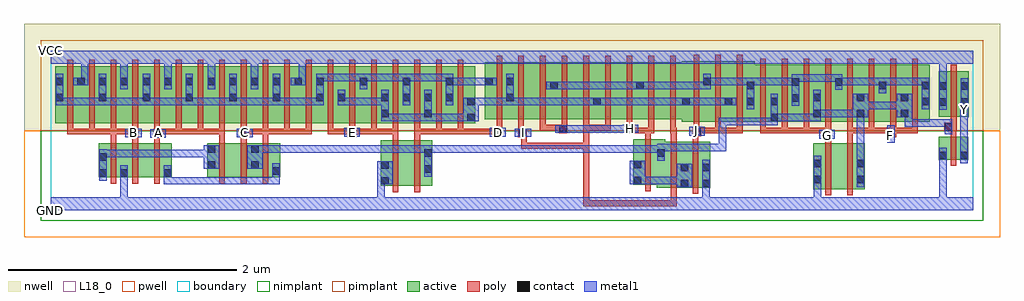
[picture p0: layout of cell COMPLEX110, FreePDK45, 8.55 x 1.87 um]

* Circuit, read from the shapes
.subckt COMPLEX110 A B C D E F G GND H I J VCC Y
M1 GND B n1 VSUBS nfet w=0.3u l=0.05u
M2 n2 B GND VSUBS nfet w=0.3u l=0.05u
M3 n3 A n2 VSUBS nfet w=0.3u l=0.05u
M4 n4 A n1 VSUBS nfet w=0.3u l=0.05u
M5 n5 C n4 VSUBS nfet w=0.3u l=0.05u
M6 n3 C n5 VSUBS nfet w=0.3u l=0.05u
M7 n6 E GND VSUBS nfet w=0.4u l=0.05u
M8 n5 D n6 VSUBS nfet w=0.4u l=0.05u
M9 n5 H n7 VSUBS nfet w=0.4u l=0.05u
M10 n7 I n5 VSUBS nfet w=0.4u l=0.05u
M11 GND J n7 VSUBS nfet w=0.4u l=0.05u
M12 n8 G GND VSUBS nfet w=0.4u l=0.05u
M13 n5 F n8 VSUBS nfet w=0.4u l=0.05u
M14 Y n5 GND VSUBS nfet w=0.2u l=0.05u
M15 VCC B n9 n10 pfet w=0.5u l=0.05u m=4
M16 VCC A n9 n10 pfet w=0.5u l=0.05u m=4
M17 VCC C n9 n10 pfet w=0.5u l=0.05u m=4
M18 n11 E n9 n10 pfet w=0.5u l=0.05u m=4
M19 n11 D n9 n10 pfet w=0.5u l=0.05u m=4
M20 n12 I n11 n10 pfet w=0.5u l=0.05u
M21 n13 H n12 n10 pfet w=0.5u l=0.05u
M22 n14 H n13 n10 pfet w=0.5u l=0.05u
M23 n11 I n14 n10 pfet w=0.5u l=0.05u
M24 n15 I n11 n10 pfet w=0.5u l=0.05u
M25 n13 H n15 n10 pfet w=0.5u l=0.05u
M26 n16 H n13 n10 pfet w=0.5u l=0.05u
M27 n11 I n16 n10 pfet w=0.5u l=0.05u
M28 n13 J n11 n10 pfet w=0.532u l=0.05u m=3
M29 n5 G n13 n10 pfet w=0.5u l=0.05u m=4
M30 n5 F n13 n10 pfet w=0.5u l=0.05u m=4
M31 Y n5 VCC n10 pfet w=0.4u l=0.05u
.ends

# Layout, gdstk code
import gdstk
lib = gdstk.Library(unit=1e-6, precision=1e-09)
def R(c, l, rs):  # rectangles x0, y0, x1, y1
    for r in rs: c.add(gdstk.rectangle(r[:2], r[2:], *l))
def A(c, l, x, y, w, h, nx, ny, dx, dy):  # array of equal rectangles
    R(c, l, [(x+i*dx, y+j*dy, x+i*dx+w, y+j*dy+h) for i in range(nx) for j in range(ny)])
active = (1, 0)
pwell = (2, 0)
nwell = (3, 0)
nimplant = (4, 0)
pimplant = (5, 0)
poly = (9, 0)
contact = (10, 0)
metal1 = (11, 0)
L18_0 = (18, 0)
boundary = (235, 0)

complex110 = lib.new_cell('COMPLEX110')
A(complex110, active, 0.605, 0.765, 0.27, 0.5, 3, 1, 0.57, 0)
A(complex110, active, 0.8, 0.765, 0.265, 0.5, 3, 1, 0.57, 0)
A(complex110, active, 2.13, 0.765, 0.265, 0.5, 5, 1, 0.19, 0)
A(complex110, active, 6.485, 0.775, 0.265, 0.5, 3, 1, 0.19, 0)
A(complex110, active, 1.56, 0.807, 0.075, 0.393, 5, 1, 0.38, 0)
R(complex110, active, [(6.68,0.187,6.905,0.587), (6.905,0.187,7.13,0.587), (5.307,0.2,5.587,0.6), (5.512,0.2,5.777,0.6), (5.512,0.2,5.587,0.492), (5.702,0.2,5.777,0.6), (7.055,0.2,7.13,0.587), (2.89,0.215,3.115,0.615), (2.89,0.215,2.965,0.615), (3.115,0.215,3.34,0.615), (5.102,0.225,5.177,0.625), (5.102,0.225,5.382,0.625), (6.68,0.232,6.755,0.587), (3.265,0.245,3.34,0.615), (5.307,0.245,5.382,0.6), (0.42,0.29,0.68,0.59), (0.42,0.29,0.495,0.59), (0.605,0.29,0.835,0.59), (0.605,0.29,0.68,0.442), (0.835,0.29,1.06,0.59), (0.985,0.29,1.06,0.59), (1.37,0.29,1.595,0.59), (1.595,0.29,1.825,0.59), (1.75,0.29,2.01,0.59), (1.935,0.307,2.01,0.59), (1.75,0.33,1.825,0.575), (1.37,0.345,1.445,0.59), (7.777,0.445,7.852,0.645), (7.777,0.445,8.037,0.645), (7.962,0.445,8.037,0.645), (0.04,0.765,0.3,1.265), (0.04,0.765,0.115,1.2), (0.225,0.765,0.49,1.265), (0.415,0.765,0.68,1.265), (0.99,0.765,1.25,1.265), (1.56,0.765,1.82,1.265), (3.08,0.765,3.34,1.265), (3.265,0.765,3.53,1.265), (3.455,0.765,3.72,1.265), (3.645,0.765,3.72,1.07), (5.525,0.775,5.785,1.307), (5.71,0.775,5.785,1.2), (5.71,0.775,5.975,1.307), (5.9,0.775,5.975,1.07), (5.9,0.775,6.165,1.307), (6.09,0.775,6.165,1.2), (6.09,0.775,6.375,1.275), (6.3,0.775,6.56,1.275), (6.3,0.775,6.375,1.07), (6.675,0.775,6.75,1.07), (7.055,0.775,7.13,1.07), (7.055,0.775,7.325,1.275), (7.25,0.775,7.325,1.2), (7.25,0.775,7.515,1.275), (7.44,0.775,7.7,1.275), (7.44,0.775,7.515,1.07), (7.625,0.775,7.7,1.2), (3.8,0.8,3.875,1.2), (3.8,0.8,4.06,1.3), (3.985,0.8,4.215,1.3), (4.215,0.8,4.445,1.3), (4.37,0.8,4.595,1.3), (4.595,0.8,4.822,1.3), (4.747,0.8,4.975,1.3), (4.975,0.8,5.2,1.3), (5.125,0.8,5.355,1.3), (5.355,0.8,5.6,1.3), (6.865,0.802,6.94,1.2), (0.225,0.807,0.3,1.255), (0.415,0.807,0.49,1.2), (0.605,0.807,0.68,1.255), (0.8,0.807,0.875,1.2), (0.99,0.807,1.065,1.255), (1.175,0.807,1.25,1.2), (1.37,0.807,1.445,1.255), (1.745,0.807,1.82,1.255), (2.13,0.807,2.205,1.255), (2.51,0.807,2.585,1.07), (2.89,0.807,2.965,1.07), (3.265,0.807,3.34,1.07), (3.455,0.807,3.53,1.2), (3.985,0.807,4.06,1.2), (4.37,0.807,4.445,1.2), (4.747,0.807,4.822,1.07), (5.125,0.807,5.2,1.2), (5.525,0.807,5.6,1.07), (6.485,0.807,6.56,1.2), (7.78,0.82,7.855,1.22), (7.78,0.82,8.04,1.22), (7.965,0.82,8.04,1.165)])
R(complex110, pwell, [(-0.235,-0.235,8.315,0.7)])
R(complex110, nwell, [(-0.235,0.7,8.315,1.635)])
R(complex110, nimplant, [(-0.09,-0.09,8.17,0.7)])
R(complex110, pimplant, [(-0.09,0.7,8.17,1.49)])
A(complex110, poly, 0.525, 0.235, 0.05, 0.41, 3, 1, 0.19, 0)
A(complex110, poly, 1.475, 0.235, 0.05, 0.41, 3, 1, 0.19, 0)
A(complex110, poly, 0.145, 0.665, 0.05, 0.095, 19, 1, 0.19, 0)
A(complex110, poly, 2.995, 0.665, 0.05, 0.05, 3, 1, 0.19, 0)
A(complex110, poly, 5.63, 0.675, 0.05, 0.095, 3, 1, 0.19, 0)
A(complex110, poly, 6.215, 0.675, 0.05, 0.095, 8, 1, 0.19, 0)
A(complex110, poly, 4.285, 0.7, 0.05, 0.095, 5, 1, 0.19, 0)
A(complex110, poly, 0.145, 0.71, 0.05, 0.61, 19, 1, 0.19, 0)
A(complex110, poly, 5.63, 0.72, 0.05, 0.642, 3, 1, 0.19, 0)
A(complex110, poly, 6.215, 0.72, 0.05, 0.61, 8, 1, 0.19, 0)
A(complex110, poly, 3.905, 0.745, 0.05, 0.61, 9, 1, 0.19, 0)
R(complex110, poly, [(4.665,0.037,4.715,0.087), (4.665,0.037,4.715,0.087), (4.665,0.037,4.715,0.087), (4.665,0.037,4.715,0.087), (4.665,0.037,4.715,0.087), (4.665,0.037,4.96,0.087), (4.665,0.037,4.715,0.592), (4.91,0.037,4.96,0.087), (4.91,0.037,4.96,0.087), (4.91,0.037,4.96,0.087), (4.91,0.037,5.125,0.087), (5.075,0.037,5.125,0.087), (5.075,0.037,5.125,0.087), (5.075,0.037,5.125,0.087), (5.075,0.037,5.342,0.087), (5.292,0.037,5.342,0.087), (5.292,0.037,5.342,0.087), (5.292,0.037,5.342,0.087), (5.292,0.037,5.482,0.087), (5.432,0.037,5.482,0.087), (5.432,0.037,5.482,0.087), (5.432,0.037,5.482,0.087), (5.432,0.037,5.482,0.195), (6.785,0.132,6.835,0.642), (6.975,0.132,7.025,0.642), (5.432,0.145,5.482,0.655), (5.622,0.145,5.672,0.655), (2.995,0.16,3.045,0.67), (3.185,0.16,3.235,0.67), (5.207,0.17,5.257,0.68), (7.882,0.39,7.932,0.7), (4.12,0.542,4.17,0.592), (4.12,0.542,4.17,0.592), (4.12,0.542,4.17,0.592), (4.12,0.542,4.17,0.592), (4.12,0.542,4.17,0.592), (4.12,0.542,4.367,0.592), (4.12,0.542,4.17,0.69), (4.317,0.542,4.367,0.592), (4.317,0.542,4.582,0.592), (4.532,0.542,4.582,0.592), (4.532,0.542,4.582,0.592), (4.532,0.542,4.582,0.592), (4.532,0.542,4.715,0.592), (4.665,0.542,4.715,0.592), (4.665,0.542,4.715,0.592), (4.665,0.542,4.715,0.592), (4.665,0.542,4.715,0.592), (4.665,0.542,4.715,0.592), (4.665,0.542,4.715,0.75), (6.785,0.592,6.835,0.687), (6.975,0.592,7.025,0.725), (0.525,0.595,0.575,0.715), (0.715,0.595,0.765,0.69), (0.905,0.595,0.955,0.69), (1.475,0.595,1.525,0.715), (1.665,0.595,1.715,0.69), (1.855,0.595,1.905,0.715), (5.432,0.605,5.482,0.725), (5.622,0.605,5.672,0.7), (2.995,0.62,3.045,0.715), (3.185,0.62,3.235,0.715), (5.207,0.63,5.257,0.725), (6.762,0.637,6.837,0.725), (0.69,0.64,0.765,0.715), (0.902,0.64,0.977,0.715), (1.665,0.64,1.74,0.715), (2.602,0.64,2.677,0.715), (4.095,0.64,4.17,0.715), (7.325,0.64,7.405,0.725), (5.622,0.65,5.697,0.725), (7.882,0.65,7.932,0.745), (3.88,0.652,3.955,0.727), (0.145,0.665,0.195,0.715), (0.145,0.665,0.195,0.715), (0.145,0.665,0.195,0.715), (0.145,0.665,0.385,0.715), (0.335,0.665,0.385,0.715), (0.335,0.665,0.385,0.715), (0.335,0.665,0.385,0.715), (0.335,0.665,0.575,0.715), (0.525,0.665,0.575,0.715), (0.525,0.665,0.74,0.715), (0.69,0.665,0.74,0.715), (0.69,0.665,0.74,0.715), (0.927,0.665,1.145,0.715), (1.095,0.665,1.145,0.715), (1.095,0.665,1.145,0.715), (1.095,0.665,1.145,0.715), (1.095,0.665,1.335,0.715), (1.285,0.665,1.335,0.715), (1.285,0.665,1.335,0.715), (1.285,0.665,1.335,0.715), (1.285,0.665,1.525,0.715), (1.475,0.665,1.525,0.715), (1.475,0.665,1.525,0.715), (1.475,0.665,1.525,0.715), (1.69,0.665,1.905,0.715), (1.855,0.665,1.905,0.715), (1.855,0.665,1.905,0.715), (1.855,0.665,1.905,0.715), (1.855,0.665,2.095,0.715), (2.045,0.665,2.095,0.715), (2.045,0.665,2.095,0.715), (2.045,0.665,2.095,0.715), (2.045,0.665,2.285,0.715), (2.235,0.665,2.285,0.715), (2.235,0.665,2.285,0.715), (2.235,0.665,2.285,0.715), (2.425,0.665,2.475,0.715), (2.425,0.665,2.652,0.715), (2.602,0.665,2.652,0.715), (2.602,0.665,2.652,0.715), (2.627,0.665,2.855,0.715), (2.805,0.665,2.855,0.715), (2.805,0.665,2.855,0.715), (2.805,0.665,2.855,0.715), (2.805,0.665,3.045,0.715), (2.995,0.665,3.045,0.715), (2.995,0.665,3.045,0.715), (3.185,0.665,3.425,0.715), (3.375,0.665,3.425,0.715), (3.375,0.665,3.425,0.715), (3.375,0.665,3.615,0.715), (3.565,0.665,3.615,0.715), (3.565,0.665,3.615,0.715), (3.565,0.665,3.615,0.715), (3.565,0.665,3.747,0.715), (3.697,0.665,3.747,0.715), (3.697,0.665,3.747,0.715), (3.697,0.665,3.747,0.715), (3.697,0.665,3.93,0.715), (4.095,0.665,4.145,0.795), (4.45,0.675,4.525,0.75), (5.042,0.675,5.117,0.75), (5.067,0.675,5.257,0.725), (5.207,0.675,5.257,0.725), (5.207,0.675,5.257,0.725), (5.207,0.675,5.285,0.725), (5.235,0.675,5.285,0.795), (5.425,0.675,5.475,0.795), (5.425,0.675,5.482,0.725), (5.647,0.675,5.697,0.725), (5.647,0.675,5.697,0.725), (5.647,0.675,5.87,0.725), (5.82,0.675,5.87,0.725), (5.82,0.675,5.87,0.725), (5.82,0.675,5.87,0.725), (5.82,0.675,6.06,0.725), (6.01,0.675,6.06,0.725), (6.215,0.675,6.265,0.725), (6.215,0.675,6.265,0.725), (6.215,0.675,6.265,0.725), (6.215,0.675,6.455,0.725), (6.405,0.675,6.455,0.725), (6.405,0.675,6.455,0.725), (6.405,0.675,6.455,0.725), (6.405,0.675,6.645,0.725), (6.595,0.675,6.645,0.725), (6.595,0.675,6.812,0.725), (6.762,0.675,6.812,0.725), (6.762,0.675,6.812,0.725), (6.975,0.675,7.025,0.725), (6.975,0.675,7.025,0.725), (6.975,0.675,7.025,0.725), (6.975,0.675,7.215,0.725), (7.165,0.675,7.215,0.725), (7.165,0.675,7.375,0.725), (7.325,0.675,7.375,0.725), (7.325,0.675,7.375,0.725), (7.355,0.675,7.595,0.725), (7.545,0.675,7.595,0.725), (7.545,0.675,7.595,0.725), (7.545,0.675,7.595,0.725), (3.905,0.677,3.955,0.795), (7.825,0.695,7.935,0.77), (4.285,0.7,4.335,0.75), (4.285,0.7,4.335,0.75), (4.285,0.7,4.335,0.75), (4.285,0.7,4.5,0.75), (4.665,0.7,4.715,0.75), (4.665,0.7,4.905,0.75), (4.855,0.7,4.905,0.75), (4.855,0.7,4.905,0.75), (4.855,0.7,4.905,0.75), (7.885,0.72,7.935,0.815), (7.885,0.765,7.935,1.275)])
A(complex110, contact, 1.565, 0.955, 0.065, 0.065, 3, 1, 0.38, 0)
A(complex110, contact, 0.23, 1.095, 0.065, 0.065, 3, 1, 0.19, 0)
A(complex110, contact, 1.945, 1.095, 0.065, 0.065, 3, 1, 0.19, 0)
R(complex110, contact, [(5.517,0.205,5.582,0.27), (5.707,0.205,5.772,0.27), (2.895,0.227,2.96,0.292), (5.107,0.23,5.172,0.295), (6.685,0.24,6.75,0.305), (7.06,0.24,7.125,0.305), (0.425,0.295,0.49,0.36), (0.61,0.295,0.675,0.36), (0.99,0.295,1.055,0.36), (1.94,0.312,2.005,0.377), (3.27,0.332,3.335,0.397), (5.517,0.345,5.582,0.41), (5.707,0.345,5.772,0.41), (1.375,0.365,1.44,0.43), (1.755,0.365,1.82,0.43), (2.895,0.367,2.96,0.432), (5.107,0.37,5.172,0.435), (6.685,0.38,6.75,0.445), (7.06,0.38,7.125,0.445), (0.425,0.435,0.49,0.5), (7.782,0.45,7.847,0.515), (7.967,0.45,8.032,0.515), (3.27,0.472,3.335,0.537), (5.312,0.472,5.377,0.537), (1.375,0.505,1.44,0.57), (1.755,0.505,1.82,0.57), (6.767,0.642,6.832,0.707), (0.695,0.645,0.76,0.71), (0.907,0.645,0.972,0.71), (1.67,0.645,1.735,0.71), (2.607,0.645,2.672,0.71), (4.1,0.645,4.165,0.71), (7.33,0.645,7.395,0.71), (5.627,0.655,5.692,0.72), (3.885,0.657,3.95,0.722), (4.455,0.68,4.52,0.745), (5.047,0.68,5.112,0.745), (7.83,0.7,7.895,0.765), (3.65,0.782,3.715,0.847), (6.305,0.782,6.37,0.847), (6.68,0.815,6.745,0.88), (2.895,0.817,2.96,0.882), (3.27,0.817,3.335,0.882), (7.06,0.817,7.125,0.882), (7.445,0.817,7.51,0.882), (7.785,0.917,7.85,0.982), (7.97,0.917,8.035,0.982), (6.095,0.92,6.16,0.985), (7.63,0.92,7.695,0.985), (3.65,0.922,3.715,0.987), (4.752,0.922,4.817,0.987), (5.53,0.922,5.595,0.987), (5.905,0.922,5.97,0.987), (6.305,0.922,6.37,0.987), (6.49,0.952,6.555,1.017), (0.045,0.955,0.11,1.02), (0.42,0.955,0.485,1.02), (0.805,0.955,0.87,1.02), (1.18,0.955,1.245,1.02), (3.085,0.955,3.15,1.02), (3.46,0.955,3.525,1.02), (3.99,0.955,4.055,1.02), (6.68,0.955,6.745,1.02), (2.515,0.957,2.58,1.022), (2.895,0.957,2.96,1.022), (3.27,0.957,3.335,1.022), (7.06,0.957,7.125,1.022), (7.445,0.957,7.51,1.022), (7.785,1.057,7.85,1.122), (7.97,1.057,8.035,1.122), (4.375,1.06,4.44,1.125), (5.13,1.06,5.195,1.125), (6.095,1.06,6.16,1.125), (7.255,1.06,7.32,1.125), (7.63,1.06,7.695,1.125), (6.49,1.092,6.555,1.157), (6.87,1.092,6.935,1.157), (0.045,1.095,0.11,1.16), (0.805,1.095,0.87,1.16), (0.995,1.095,1.06,1.16), (1.18,1.095,1.245,1.16), (1.375,1.095,1.44,1.16), (1.565,1.095,1.63,1.16), (1.75,1.095,1.815,1.16), (2.705,1.095,2.77,1.16), (3.085,1.095,3.15,1.16), (3.46,1.095,3.525,1.16), (3.805,1.095,3.87,1.16), (3.99,1.095,4.055,1.16), (5.715,1.095,5.78,1.16)])
A(complex110, metal1, 1.565, 0.92, 0.065, 0.275, 3, 1, 0.38, 0)
R(complex110, metal1, [(0,0,8.08,0.115), (0.61,0.05,0.675,0.115), (0.61,0.05,0.675,0.115), (0.61,0.05,0.675,0.325), (2.86,0.05,2.925,0.115), (2.86,0.05,2.925,0.115), (2.86,0.05,2.925,0.292), (5.707,0.05,5.772,0.115), (5.707,0.05,5.772,0.115), (5.707,0.05,5.772,0.235), (6.685,0.05,6.75,0.115), (6.685,0.05,6.75,0.115), (6.685,0.05,6.75,0.27), (7.782,0.05,7.847,0.48), (5.707,0.17,5.772,0.445), (5.482,0.205,5.617,0.41), (6.685,0.205,6.75,0.48), (7.06,0.205,7.125,0.48), (0.99,0.227,1.055,0.292), (0.99,0.227,1.055,0.292), (0.99,0.227,1.055,0.292), (0.99,0.227,1.192,0.292), (0.99,0.227,1.055,0.325), (1.127,0.227,1.192,0.292), (1.127,0.227,1.355,0.292), (1.29,0.227,1.355,0.292), (1.29,0.227,1.492,0.292), (1.427,0.227,1.492,0.292), (1.427,0.227,1.492,0.292), (1.427,0.227,1.492,0.292), (1.427,0.227,1.63,0.292), (1.565,0.227,1.63,0.292), (1.565,0.227,1.63,0.292), (1.565,0.227,1.63,0.292), (1.565,0.227,1.867,0.292), (1.802,0.227,1.867,0.292), (1.802,0.227,1.867,0.292), (1.802,0.227,1.867,0.292), (1.802,0.227,2.005,0.292), (1.94,0.227,2.005,0.292), (1.94,0.227,2.005,0.342), (2.86,0.227,2.995,0.432), (5.072,0.23,5.207,0.435), (5.142,0.23,5.272,0.295), (5.207,0.23,5.272,0.295), (5.207,0.23,5.41,0.295), (5.345,0.23,5.41,0.295), (5.345,0.23,5.41,0.295), (5.345,0.23,5.41,0.295), (5.345,0.23,5.547,0.295), (0.425,0.26,0.49,0.535), (0.61,0.26,0.675,0.325), (0.61,0.26,0.675,0.325), (0.61,0.26,0.675,0.395), (0.99,0.26,1.055,0.395), (1.94,0.277,2.005,0.412), (3.27,0.297,3.335,0.572), (1.34,0.365,1.475,0.57), (1.72,0.365,1.855,0.57), (7.06,0.415,7.125,0.882), (7.782,0.415,7.847,0.48), (7.782,0.415,7.847,0.48), (7.782,0.415,7.847,0.48), (7.782,0.415,7.847,0.48), (7.782,0.415,7.847,0.48), (7.782,0.415,7.847,0.48), (7.782,0.415,7.847,0.55), (7.967,0.415,8.032,0.55), (5.312,0.437,5.377,0.572), (0.425,0.467,0.49,0.532), (0.425,0.467,0.49,0.532), (0.425,0.467,0.732,0.532), (0.667,0.467,0.732,0.532), (0.667,0.467,0.732,0.532), (0.667,0.467,0.732,0.532), (0.667,0.467,0.917,0.532), (0.852,0.467,0.917,0.532), (0.852,0.467,0.917,0.532), (0.852,0.467,0.917,0.532), (0.852,0.467,1.055,0.532), (0.99,0.467,1.055,0.532), (0.99,0.467,1.055,0.532), (0.99,0.467,1.055,0.532), (0.99,0.467,1.267,0.532), (1.202,0.467,1.267,0.532), (1.202,0.467,1.267,0.532), (1.202,0.467,1.267,0.532), (1.202,0.467,1.405,0.532), (7.967,0.485,8.032,0.877), (1.79,0.505,1.855,0.57), (1.79,0.505,1.855,0.57), (1.79,0.505,2.005,0.57), (1.94,0.505,2.005,0.57), (1.94,0.505,2.005,0.57), (1.94,0.505,2.005,0.57), (1.94,0.505,2.252,0.57), (2.187,0.505,2.252,0.57), (2.187,0.505,2.252,0.57), (2.187,0.505,2.252,0.57), (2.187,0.505,2.39,0.57), (2.325,0.505,2.39,0.57), (2.325,0.505,2.39,0.57), (2.325,0.505,2.39,0.57), (2.325,0.505,2.632,0.57), (2.567,0.505,2.632,0.57), (2.567,0.505,2.787,0.57), (2.722,0.505,2.787,0.57), (2.722,0.505,2.787,0.57), (2.722,0.505,2.787,0.57), (2.722,0.505,3.012,0.57), (2.947,0.505,3.012,0.57), (2.947,0.505,3.012,0.57), (2.947,0.505,3.012,0.57), (2.947,0.505,3.15,0.57), (3.085,0.505,3.15,0.57), (3.085,0.505,3.15,0.57), (3.085,0.505,3.15,0.57), (3.085,0.505,3.335,0.57), (3.27,0.505,3.335,0.57), (3.27,0.505,3.335,0.57), (3.27,0.507,3.472,0.572), (3.407,0.507,3.472,0.572), (3.407,0.507,3.477,0.572), (3.412,0.507,3.477,0.572), (3.412,0.507,3.612,0.572), (3.547,0.507,3.612,0.572), (3.547,0.507,3.75,0.572), (3.685,0.507,3.75,0.572), (3.685,0.507,3.75,0.572), (3.685,0.507,3.75,0.572), (3.685,0.507,3.917,0.572), (3.852,0.507,3.917,0.572), (3.852,0.507,3.917,0.572), (3.852,0.507,3.917,0.572), (3.852,0.507,3.917,0.572), (3.852,0.507,3.917,0.572), (3.852,0.507,4.055,0.572), (3.99,0.507,4.055,0.572), (3.99,0.507,4.192,0.572), (4.127,0.507,4.192,0.572), (4.127,0.507,4.192,0.572), (4.127,0.507,4.192,0.572), (4.127,0.507,4.507,0.572), (4.442,0.507,4.507,0.572), (4.442,0.507,4.507,0.572), (4.442,0.507,4.507,0.572), (4.442,0.507,4.645,0.572), (4.58,0.507,4.645,0.572), (4.58,0.507,4.692,0.572), (4.627,0.507,4.692,0.572), (4.627,0.507,4.83,0.572), (4.765,0.507,4.83,0.572), (4.765,0.507,4.83,0.572), (4.765,0.507,4.83,0.572), (4.765,0.507,5,0.572), (4.935,0.507,5,0.572), (4.935,0.507,5,0.572), (4.935,0.507,5,0.572), (4.935,0.507,5.137,0.572), (5.072,0.507,5.137,0.572), (5.072,0.507,5.272,0.572), (5.207,0.507,5.272,0.572), (5.207,0.507,5.377,0.572), (5.312,0.507,5.377,0.582), (5.312,0.517,5.377,0.582), (5.312,0.517,5.492,0.582), (5.427,0.517,5.492,0.582), (5.427,0.517,5.547,0.582), (5.482,0.517,5.547,0.582), (5.482,0.517,5.63,0.582), (5.565,0.517,5.63,0.582), (5.565,0.517,5.767,0.582), (5.702,0.517,5.767,0.582), (5.702,0.517,5.767,0.582), (5.702,0.517,5.767,0.582), (5.702,0.517,5.917,0.582), (5.852,0.517,5.917,0.582), (5.852,0.517,5.917,0.582), (5.852,0.517,5.917,0.582), (5.852,0.517,5.917,0.812), (7.327,0.592,7.395,0.745), (6.732,0.627,6.867,0.707), (0.872,0.635,1.007,0.712), (0.652,0.642,0.795,0.715), (1.627,0.642,1.77,0.715), (2.572,0.645,2.707,0.722), (4.065,0.645,4.207,0.717), (3.847,0.647,3.987,0.722), (5.592,0.655,5.727,0.732), (7.83,0.665,7.895,0.8), (4.42,0.68,4.555,0.745), (4.49,0.68,4.645,0.745), (4.58,0.68,4.645,0.745), (4.58,0.68,4.692,0.745), (4.627,0.68,4.692,0.745), (4.627,0.68,4.83,0.745), (4.765,0.68,4.83,0.745), (4.765,0.68,4.83,0.745), (4.765,0.68,4.83,0.745), (4.765,0.68,4.99,0.745), (4.925,0.68,4.99,0.745), (4.925,0.68,5.077,0.745), (5.012,0.68,5.147,0.752), (7.48,0.735,7.545,0.8), (7.48,0.735,7.695,0.8), (7.48,0.735,7.545,0.882), (7.63,0.735,7.695,0.8), (7.63,0.735,7.695,0.8), (7.63,0.735,7.695,0.8), (7.63,0.735,7.895,0.8), (7.83,0.735,7.895,0.8), (7.83,0.735,7.895,0.8), (5.852,0.747,5.917,0.812), (5.852,0.747,6.055,0.812), (5.99,0.747,6.055,0.812), (5.99,0.747,6.055,0.812), (5.99,0.747,6.055,0.812), (5.99,0.747,6.232,0.812), (6.167,0.747,6.232,0.812), (6.167,0.747,6.37,0.812), (6.305,0.747,6.37,1.022), (6.305,0.78,6.37,0.845), (6.305,0.78,6.37,0.845), (6.305,0.78,6.555,0.845), (6.49,0.78,6.555,0.845), (6.49,0.78,6.555,0.845), (6.49,0.78,6.555,0.845), (6.49,0.78,6.745,0.845), (6.68,0.78,6.745,1.055), (2.895,0.782,2.96,1.057), (2.895,0.782,3.15,0.847), (3.085,0.782,3.15,0.847), (3.085,0.782,3.15,0.847), (3.085,0.782,3.15,0.847), (3.085,0.782,3.335,0.847), (3.27,0.782,3.335,0.847), (3.27,0.782,3.335,0.847), (3.27,0.782,3.335,1.057), (3.27,0.782,3.472,0.847), (3.407,0.782,3.472,0.847), (3.407,0.782,3.477,0.847), (3.412,0.782,3.477,0.847), (3.412,0.782,3.61,0.847), (3.545,0.782,3.61,0.847), (3.545,0.782,3.68,0.847), (3.615,0.782,3.75,0.987), (7.967,0.812,8.035,0.947), (6.68,0.817,6.745,0.882), (6.68,0.817,6.745,0.882), (6.68,0.817,6.887,0.882), (6.822,0.817,6.887,0.882), (6.822,0.817,6.887,0.882), (6.822,0.817,6.887,0.882), (6.822,0.817,7.09,0.882), (7.025,0.817,7.16,1.022), (7.06,0.817,7.125,0.882), (7.06,0.817,7.125,0.882), (7.41,0.817,7.545,1.022), (7.785,0.882,7.85,1.157), (7.97,0.882,8.035,0.947), (7.97,0.882,8.035,1.157), (6.095,0.885,6.16,1.16), (7.63,0.885,7.695,1.16), (7.095,0.887,7.16,0.952), (7.095,0.887,7.16,0.952), (7.095,0.887,7.297,0.952), (7.232,0.887,7.297,0.952), (7.232,0.887,7.297,0.952), (7.232,0.887,7.297,0.952), (7.232,0.887,7.475,0.952), (6.49,0.917,6.555,1.192), (0.045,0.92,0.11,0.985), (0.045,0.92,0.11,0.985), (0.045,0.92,0.11,1.195), (0.045,0.92,0.347,0.985), (0.282,0.92,0.347,0.985), (0.282,0.92,0.347,0.985), (0.282,0.92,0.347,0.985), (0.282,0.92,0.485,0.985), (0.42,0.92,0.485,0.985), (0.42,0.92,0.485,0.985), (0.42,0.92,0.485,1.195), (0.42,0.92,0.627,0.985), (0.562,0.92,0.627,0.985), (0.562,0.92,0.627,0.985), (0.562,0.92,0.627,0.985), (0.562,0.92,0.87,0.985), (0.805,0.92,0.87,0.985), (0.805,0.92,0.87,0.985), (0.805,0.92,0.87,1.195), (0.805,0.92,1.055,0.985), (0.99,0.92,1.055,0.985), (0.99,0.92,1.055,0.985), (0.99,0.92,1.055,0.985), (0.99,0.92,1.245,0.985), (1.18,0.92,1.245,0.985), (1.18,0.92,1.245,0.985), (1.18,0.92,1.245,1.195), (1.18,0.92,1.492,0.985), (1.427,0.92,1.492,0.985), (1.427,0.92,1.492,0.985), (1.427,0.92,1.492,0.985), (1.427,0.92,1.63,0.985), (1.565,0.92,1.63,0.985), (1.565,0.92,1.63,0.985), (1.565,0.92,1.767,0.985), (1.702,0.92,1.767,0.985), (1.702,0.92,1.767,0.985), (1.702,0.92,1.767,0.985), (1.702,0.92,2.01,0.985), (1.945,0.92,2.01,0.985), (1.945,0.92,2.01,0.985), (1.945,0.92,2.252,0.985), (2.187,0.92,2.252,0.985), (2.187,0.92,2.252,0.985), (2.187,0.92,2.252,0.985), (2.187,0.92,2.39,0.985), (3.085,0.92,3.15,1.195), (3.46,0.92,3.525,1.195), (3.685,0.92,3.75,0.985), (3.685,0.92,3.75,0.985), (3.685,0.92,3.917,0.985), (3.852,0.92,3.917,0.985), (3.852,0.92,4.055,0.985), (3.99,0.92,4.055,1.195), (2.515,0.922,2.58,1.057), (2.515,0.922,2.787,0.987), (2.722,0.922,2.787,0.987), (2.722,0.922,2.787,0.987), (2.722,0.922,2.787,0.987), (2.722,0.922,2.96,0.987), (2.895,0.922,2.96,0.987), (2.895,0.922,2.96,0.987), (3.99,0.922,4.055,0.987), (3.99,0.922,4.055,0.987), (3.99,0.922,4.192,0.987), (4.127,0.922,4.192,0.987), (4.127,0.922,4.192,0.987), (4.127,0.922,4.192,0.987), (4.127,0.922,4.33,0.987), (4.265,0.922,4.33,0.987), (4.265,0.922,4.33,0.987), (4.265,0.922,4.33,0.987), (4.265,0.922,4.645,0.987), (4.58,0.922,4.645,0.987), (4.58,0.922,4.692,0.987), (4.627,0.922,4.692,0.987), (4.627,0.922,4.782,0.987), (4.717,0.922,4.852,0.987), (4.787,0.922,4.852,0.987), (4.787,0.922,4.852,0.987), (4.787,0.922,4.99,0.987), (4.925,0.922,4.99,0.987), (4.925,0.922,4.99,0.987), (4.925,0.922,4.99,0.987), (4.925,0.922,5.24,0.987), (5.175,0.922,5.24,0.987), (5.175,0.922,5.272,0.987), (5.207,0.922,5.272,0.987), (5.207,0.922,5.41,0.987), (5.345,0.922,5.41,0.987), (5.345,0.922,5.41,0.987), (5.345,0.922,5.41,0.987), (5.345,0.922,5.56,0.987), (5.495,0.922,5.63,0.987), (5.565,0.922,5.63,0.987), (5.565,0.922,5.63,0.987), (5.565,0.922,5.78,0.987), (5.715,0.922,5.78,0.987), (5.715,0.922,5.78,0.987), (5.715,0.922,5.78,0.987), (5.715,0.922,5.935,0.987), (5.87,0.922,6.005,0.987), (7.255,1.025,7.32,1.16), (6.87,1.057,6.935,1.192), (0.61,1.06,0.675,1.195), (0.995,1.06,1.06,1.195), (1.375,1.06,1.44,1.195), (1.75,1.06,1.815,1.195), (2.705,1.06,2.77,1.195), (4.34,1.06,4.475,1.125), (4.41,1.06,4.475,1.125), (4.41,1.06,4.475,1.125), (4.41,1.06,4.645,1.125), (4.58,1.06,4.645,1.125), (4.58,1.06,4.692,1.125), (4.627,1.06,4.692,1.125), (4.627,1.06,4.83,1.125), (4.765,1.06,4.83,1.125), (4.765,1.06,4.83,1.125), (4.765,1.06,4.83,1.125), (4.765,1.06,4.99,1.125), (4.925,1.06,4.99,1.125), (4.925,1.06,5.135,1.125), (5.07,1.06,5.135,1.125), (5.07,1.06,5.16,1.125), (5.095,1.06,5.23,1.125), (5.165,1.06,5.272,1.125), (5.207,1.06,5.272,1.125), (5.207,1.06,5.41,1.125), (5.345,1.06,5.41,1.125), (5.345,1.06,5.41,1.125), (5.345,1.06,5.41,1.125), (5.345,1.06,5.63,1.125), (5.565,1.06,5.63,1.125), (5.565,1.06,5.63,1.125), (5.565,1.06,5.63,1.125), (5.565,1.06,5.78,1.125), (5.715,1.06,5.78,1.195), (7.785,1.092,7.85,1.35), (0.195,1.095,0.33,1.16), (0.265,1.095,0.33,1.35), (2.1,1.095,2.235,1.16), (2.17,1.095,2.235,1.35), (3.46,1.095,3.612,1.16), (3.547,1.095,3.612,1.16), (3.547,1.095,3.667,1.16), (3.602,1.095,3.667,1.16), (3.602,1.095,3.835,1.16), (3.77,1.095,3.905,1.16), (5.715,1.095,5.78,1.16), (5.715,1.095,5.78,1.16), (5.715,1.095,5.917,1.16), (5.852,1.095,5.917,1.16), (5.852,1.095,5.917,1.16), (5.852,1.095,5.917,1.16), (5.852,1.095,6.16,1.16), (6.095,1.095,6.192,1.16), (6.127,1.095,6.192,1.16), (6.127,1.095,6.417,1.16), (6.352,1.095,6.417,1.16), (6.352,1.095,6.417,1.16), (6.352,1.095,6.417,1.16), (6.352,1.095,6.555,1.16), (6.87,1.095,6.935,1.16), (6.87,1.095,6.935,1.16), (6.87,1.095,7.127,1.16), (7.062,1.095,7.127,1.16), (7.062,1.095,7.127,1.16), (7.062,1.095,7.127,1.16), (7.062,1.095,7.32,1.16), (7.255,1.095,7.32,1.16), (7.255,1.095,7.32,1.16), (7.255,1.095,7.557,1.16), (7.492,1.095,7.557,1.16), (7.492,1.095,7.557,1.16), (7.492,1.095,7.557,1.16), (7.492,1.095,7.695,1.16), (6.49,1.127,6.555,1.192), (6.49,1.127,6.555,1.192), (6.49,1.127,6.75,1.192), (6.685,1.127,6.75,1.192), (6.685,1.127,6.75,1.192), (6.685,1.127,6.75,1.192), (6.685,1.127,6.935,1.192), (0.61,1.13,0.675,1.35), (0.995,1.13,1.06,1.35), (1.375,1.13,1.44,1.35), (1.75,1.13,1.815,1.35), (2.325,1.13,2.39,1.195), (2.325,1.13,2.39,1.195), (2.325,1.13,2.632,1.195), (2.567,1.13,2.632,1.195), (2.567,1.13,2.77,1.195), (2.705,1.13,2.77,1.195), (2.705,1.13,2.77,1.195), (2.705,1.13,3.012,1.195), (2.947,1.13,3.012,1.195), (2.947,1.13,3.012,1.195), (2.947,1.13,3.012,1.195), (2.947,1.13,3.15,1.195), (3.085,1.13,3.15,1.195), (3.085,1.13,3.15,1.195), (3.085,1.13,3.287,1.195), (3.222,1.13,3.287,1.195), (3.222,1.13,3.287,1.195), (3.222,1.13,3.287,1.195), (3.222,1.13,3.472,1.195), (3.407,1.13,3.472,1.195), (3.407,1.13,3.525,1.195), (0,1.285,8.08,1.4)])
R(complex110, L18_0, [(0,0,8.08,0.115), (0.61,0.05,0.675,0.115), (0.61,0.05,0.675,0.115), (0.61,0.05,0.675,0.325), (2.86,0.05,2.925,0.115), (2.86,0.05,2.925,0.115), (2.86,0.05,2.925,0.292), (5.707,0.05,5.772,0.115), (5.707,0.05,5.772,0.115), (5.707,0.05,5.772,0.235), (6.685,0.05,6.75,0.115), (6.685,0.05,6.75,0.115), (6.685,0.05,6.75,0.27), (7.782,0.05,7.847,0.48), (5.707,0.17,5.772,0.445), (6.685,0.205,6.75,0.48), (2.86,0.227,2.995,0.432), (0.61,0.26,0.675,0.325), (0.61,0.26,0.675,0.325), (0.61,0.26,0.675,0.395), (7.782,0.415,7.847,0.48), (7.782,0.415,7.847,0.48), (7.782,0.415,7.847,0.48), (7.782,0.415,7.847,0.48), (7.782,0.415,7.847,0.48), (7.782,0.415,7.847,0.48), (7.782,0.415,7.847,0.55), (7.967,0.415,8.032,0.55), (7.967,0.485,8.032,0.877), (7.327,0.592,7.395,0.745), (6.732,0.627,6.867,0.707), (6.767,0.627,6.832,0.692), (7.327,0.627,7.392,0.692), (0.872,0.635,1.007,0.712), (0.652,0.642,0.795,0.715), (1.627,0.642,1.77,0.715), (2.572,0.645,2.707,0.722), (4.065,0.645,4.207,0.717), (0.687,0.647,0.752,0.712), (0.907,0.647,0.972,0.712), (1.667,0.647,1.732,0.712), (2.607,0.647,2.672,0.712), (3.847,0.647,3.987,0.722), (3.887,0.647,3.952,0.712), (4.107,0.647,4.172,0.712), (5.592,0.655,5.727,0.732), (5.627,0.667,5.692,0.732), (4.42,0.68,4.555,0.745), (4.49,0.68,4.645,0.745), (4.58,0.68,4.645,0.745), (4.58,0.68,4.692,0.745), (4.627,0.68,4.692,0.745), (4.627,0.68,4.83,0.745), (4.765,0.68,4.83,0.745), (4.765,0.68,4.83,0.745), (4.765,0.68,4.83,0.745), (4.765,0.68,4.99,0.745), (4.925,0.68,4.99,0.745), (4.925,0.68,5.077,0.745), (5.012,0.68,5.147,0.752), (5.047,0.687,5.112,0.752), (7.967,0.812,8.035,0.947), (7.967,0.847,8.032,0.912), (7.785,0.882,7.85,1.157), (7.97,0.882,8.035,0.947), (7.97,0.882,8.035,1.157), (0.61,1.06,0.675,1.195), (0.995,1.06,1.06,1.195), (1.375,1.06,1.44,1.195), (1.75,1.06,1.815,1.195), (7.785,1.092,7.85,1.35), (0.195,1.095,0.33,1.16), (0.265,1.095,0.33,1.35), (2.1,1.095,2.235,1.16), (2.17,1.095,2.235,1.35), (0.61,1.13,0.675,1.35), (0.995,1.13,1.06,1.35), (1.375,1.13,1.44,1.35), (1.75,1.13,1.815,1.35), (0,1.285,8.08,1.4)])
R(complex110, boundary, [(0,0,8.08,1.4)])
complex110.add(gdstk.Label('A', (0.94,0.68), layer=11, texttype=0))
complex110.add(gdstk.Label('B', (0.72,0.68), layer=11, texttype=0))
complex110.add(gdstk.Label('C', (1.7,0.68), layer=11, texttype=0))
complex110.add(gdstk.Label('D', (3.92,0.68), layer=11, texttype=0))
complex110.add(gdstk.Label('E', (2.64,0.68), layer=11, texttype=0))
complex110.add(gdstk.Label('F', (7.36,0.66), layer=11, texttype=0))
complex110.add(gdstk.Label('G', (6.8,0.66), layer=11, texttype=0))
complex110.add(gdstk.Label('H', (5.08,0.72), layer=11, texttype=0))
complex110.add(gdstk.Label('I', (4.14,0.68), layer=11, texttype=0))
complex110.add(gdstk.Label('J', (5.66,0.7), layer=11, texttype=0))
complex110.add(gdstk.Label('Y', (8,0.88), layer=11, texttype=0))
complex110.add(gdstk.Label('VCC', (0,1.4), layer=11, texttype=0))
complex110.add(gdstk.Label('GND', (0,0), layer=11, texttype=0))

lib.write_gds('COMPLEX110.gds')
